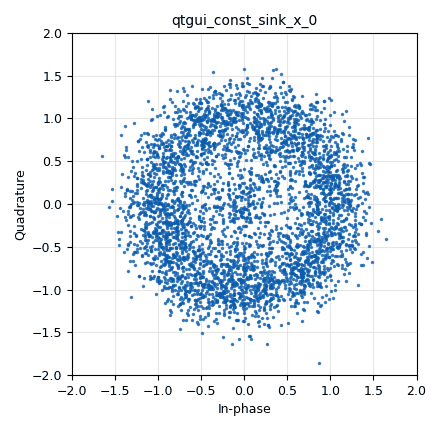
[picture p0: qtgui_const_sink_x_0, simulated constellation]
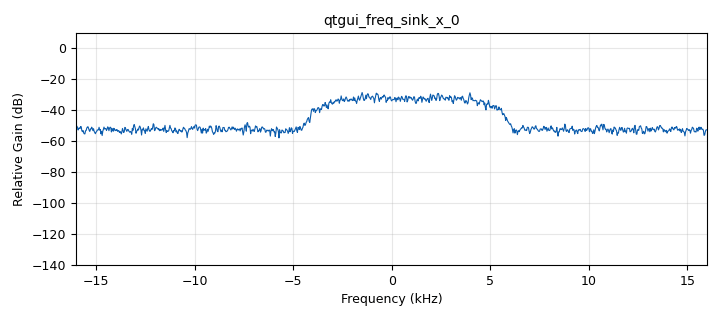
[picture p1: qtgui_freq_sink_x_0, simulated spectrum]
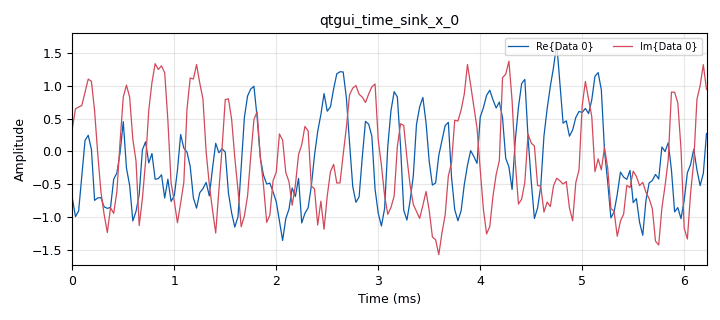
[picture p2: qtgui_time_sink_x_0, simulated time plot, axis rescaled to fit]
options:
  parameters:
    author: zehao
    generate_options: qt_gui
    id: QPSK_channel_impairment
    output_language: python
    title: Not titled yet
  states: {}

blocks:
- name: arity
  id: variable
  parameters:
    value: '4'
  states: {}
- name: excess_bw
  id: variable
  parameters:
    value: '0.35'
  states: {}
- name: qpsk
  id: variable_constellation_rect
  parameters:
    const_points: '[-1.07-1.07j, -1.07+1.07j, 1.07+1.07j, 1.07-1.07j]'
    imag_sect: '2'
    real_sect: '2'
    rot_sym: '4'
    sym_map: '[0, 1, 3, 2]'
    w_imag_sect: '1'
    w_real_sect: '1'
  states: {}
- name: samp_rate
  id: variable
  parameters:
    value: '32000'
  states: {}
- name: sps
  id: variable
  parameters:
    value: '4'
  states: {}
- name: analog_random_source_x_0
  id: analog_random_source_x
  parameters:
    max: '255'
    min: '0'
    num_samps: '10000'
    repeat: 'True'
    type: byte
  states: {}
- name: blocks_throttle_0
  id: blocks_throttle
  parameters:
    samples_per_second: samp_rate
    type: complex
  states: {}
- name: channels_channel_model_0
  id: channels_channel_model
  parameters:
    epsilon: '1.0005'
    freq_offset: '0.025'
    noise_voltage: '0.2'
    seed: '0'
    taps: '1'
  states: {}
- name: digital_constellation_modulator_0
  id: digital_constellation_modulator
  parameters:
    constellation: qpsk
    differential: 'True'
    excess_bw: '0.35'
    samples_per_symbol: '4'
  states: {}
- name: qtgui_const_sink_x_0
  id: qtgui_const_sink_x
  parameters:
    size: '4096'
    type: complex
  states: {}
- name: qtgui_freq_sink_x_0
  id: qtgui_freq_sink_x
  parameters:
    average: '0.05'
    bw: samp_rate
    fc: '0'
    fftsize: '1024'
    type: complex
    wintype: firdes.WIN_BLACKMAN_hARRIS
  states: {}
- name: qtgui_time_sink_x_0
  id: qtgui_time_sink_x
  parameters:
    size: '200'
    srate: samp_rate
    type: complex
  states: {}

connections:
- [analog_random_source_x_0, '0', digital_constellation_modulator_0, '0']
- [blocks_throttle_0, '0', channels_channel_model_0, '0']
- [channels_channel_model_0, '0', qtgui_const_sink_x_0, '0']
- [channels_channel_model_0, '0', qtgui_freq_sink_x_0, '0']
- [channels_channel_model_0, '0', qtgui_time_sink_x_0, '0']
- [digital_constellation_modulator_0, '0', blocks_throttle_0, '0']

metadata:
  file_format: 1
